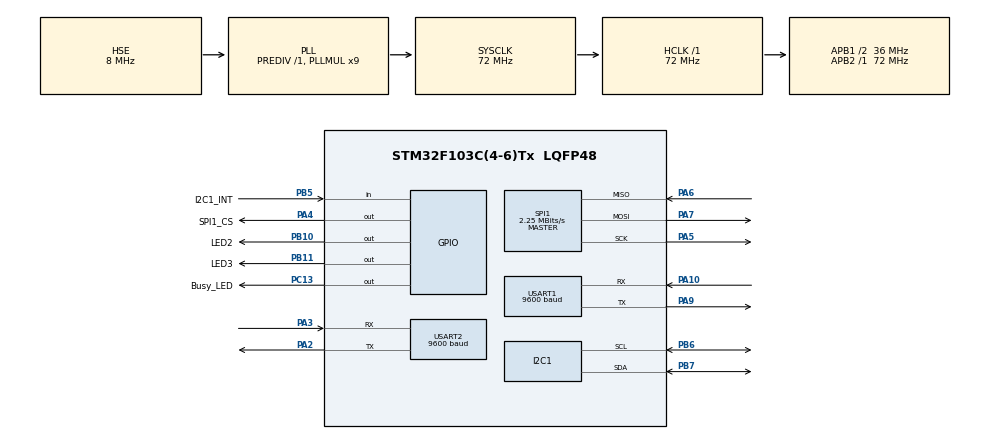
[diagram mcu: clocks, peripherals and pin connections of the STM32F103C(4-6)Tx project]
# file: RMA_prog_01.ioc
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Dma.Request0=USART2_RX
Dma.Request1=USART2_TX
Dma.Request2=USART1_RX
Dma.Request3=USART1_TX
Dma.USART1_RX.2.Direction=DMA_PERIPH_TO_MEMORY
Dma.USART1_RX.2.Instance=DMA1_Channel5
Dma.USART1_RX.2.MemDataAlignment=DMA_MDATAALIGN_BYTE
Dma.USART1_RX.2.MemInc=DMA_MINC_ENABLE
Dma.USART1_RX.2.Mode=DMA_NORMAL
Dma.USART1_RX.2.PeriphDataAlignment=DMA_PDATAALIGN_BYTE
Dma.USART1_RX.2.PeriphInc=DMA_PINC_DISABLE
Dma.USART1_RX.2.Priority=DMA_PRIORITY_VERY_HIGH
Dma.USART1_TX.3.Direction=DMA_MEMORY_TO_PERIPH
Dma.USART1_TX.3.Instance=DMA1_Channel4
Dma.USART1_TX.3.MemDataAlignment=DMA_MDATAALIGN_BYTE
Dma.USART1_TX.3.MemInc=DMA_MINC_ENABLE
Dma.USART1_TX.3.Mode=DMA_NORMAL
Dma.USART1_TX.3.PeriphDataAlignment=DMA_PDATAALIGN_BYTE
Dma.USART1_TX.3.PeriphInc=DMA_PINC_DISABLE
Dma.USART1_TX.3.Priority=DMA_PRIORITY_LOW
Dma.USART2_RX.0.Direction=DMA_PERIPH_TO_MEMORY
Dma.USART2_RX.0.Instance=DMA1_Channel6
Dma.USART2_RX.0.MemDataAlignment=DMA_MDATAALIGN_BYTE
Dma.USART2_RX.0.MemInc=DMA_MINC_ENABLE
Dma.USART2_RX.0.Mode=DMA_NORMAL
Dma.USART2_RX.0.PeriphDataAlignment=DMA_PDATAALIGN_BYTE
Dma.USART2_RX.0.PeriphInc=DMA_PINC_DISABLE
Dma.USART2_RX.0.Priority=DMA_PRIORITY_LOW
Dma.USART2_TX.1.Direction=DMA_MEMORY_TO_PERIPH
Dma.USART2_TX.1.Instance=DMA1_Channel7
Dma.USART2_TX.1.MemDataAlignment=DMA_MDATAALIGN_BYTE
Dma.USART2_TX.1.MemInc=DMA_MINC_ENABLE
Dma.USART2_TX.1.Mode=DMA_NORMAL
Dma.USART2_TX.1.PeriphDataAlignment=DMA_PDATAALIGN_BYTE
Dma.USART2_TX.1.PeriphInc=DMA_PINC_DISABLE
Dma.USART2_TX.1.Priority=DMA_PRIORITY_LOW
FATFS._MAX_SS=4096
FATFS._USE_LFN=1
Mcu.Family=STM32F1
Mcu.Name=STM32F103C(4-6)Tx
Mcu.Package=LQFP48
NVIC.DMA1_Channel4_IRQn=true\:0\:0\:false\:false\:true\:false\:true\:true
NVIC.DMA1_Channel5_IRQn=true\:0\:0\:false\:false\:true\:false\:true\:true
NVIC.DMA1_Channel6_IRQn=true\:0\:0\:false\:false\:true\:false\:true\:true
NVIC.DMA1_Channel7_IRQn=true\:0\:0\:false\:false\:true\:false\:true\:true
NVIC.PriorityGroup=NVIC_PRIORITYGROUP_4
NVIC.USART1_IRQn=true\:0\:0\:false\:false\:true\:true\:true\:true
NVIC.USART2_IRQn=true\:0\:0\:false\:false\:true\:true\:true\:true
PA10.Mode=Asynchronous
PA10.Signal=USART1_RX
PA13.Mode=Serial_Wire
PA13.Signal=SYS_JTMS-SWDIO
PA14.Mode=Serial_Wire
PA14.Signal=SYS_JTCK-SWCLK
PA2.Mode=Asynchronous
PA2.Signal=USART2_TX
PA3.Mode=Asynchronous
PA3.Signal=USART2_RX
PA4.GPIO_Label=SPI1_CS
PA4.Signal=GPIO_Output
PA5.Mode=Full_Duplex_Master
PA5.Signal=SPI1_SCK
PA6.Mode=Full_Duplex_Master
PA6.Signal=SPI1_MISO
PA7.Mode=Full_Duplex_Master
PA7.Signal=SPI1_MOSI
PA9.Mode=Asynchronous
PA9.Signal=USART1_TX
PB10.GPIO_Label=LED2
PB10.Signal=GPIO_Output
PB11.GPIO_Label=LED3
PB11.Signal=GPIO_Output
PB5.GPIO_Label=I2C1_INT
PB5.Signal=GPIO_Input
PB6.GPIO_Pu=GPIO_NOPULL
PB6.Mode=I2C
PB6.Signal=I2C1_SCL
PB7.GPIO_Pu=GPIO_NOPULL
PB7.Mode=I2C
PB7.Signal=I2C1_SDA
PC13-TAMPER-RTC.GPIO_Label=Busy_LED
PC13-TAMPER-RTC.Signal=GPIO_Output
PC14-OSC32_IN.Mode=LSE-External-Oscillator
PC14-OSC32_IN.Signal=RCC_OSC32_IN
PC15-OSC32_OUT.Mode=LSE-External-Oscillator
PC15-OSC32_OUT.Signal=RCC_OSC32_OUT
PD0-OSC_IN.Mode=HSE-External-Oscillator
PD0-OSC_IN.Signal=RCC_OSC_IN
PD1-OSC_OUT.Mode=HSE-External-Oscillator
PD1-OSC_OUT.Signal=RCC_OSC_OUT
ProjectManager.HeapSize=0x200
ProjectManager.StackSize=0x400
ProjectManager.TargetToolchain=MDK-ARM V5.27
RCC.AHBFreq_Value=72000000
RCC.APB1CLKDivider=RCC_HCLK_DIV2
RCC.APB1Freq_Value=36000000
RCC.APB1TimFreq_Value=72000000
RCC.APB2Freq_Value=72000000
RCC.APB2TimFreq_Value=72000000
RCC.HCLKFreq_Value=72000000
RCC.PLLMUL=RCC_PLL_MUL9
RCC.PLLSourceVirtual=RCC_PLLSOURCE_HSE
RCC.SYSCLKFreq_VALUE=72000000
RCC.SYSCLKSource=RCC_SYSCLKSOURCE_PLLCLK
RCC.USBFreq_Value=72000000
SPI1.BaudRatePrescaler=SPI_BAUDRATEPRESCALER_32
SPI1.CalculateBaudRate=2.25 MBits/s
SPI1.Direction=SPI_DIRECTION_2LINES
SPI1.Mode=SPI_MODE_MASTER
SPI1.VirtualType=VM_MASTER
USART1.BaudRate=9600
USART1.VirtualMode=VM_ASYNC
USART2.BaudRate=9600
USART2.VirtualMode=VM_ASYNC
VP_FATFS_VS_Generic.Mode=User_defined
board=custom

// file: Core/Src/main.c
/* USER CODE BEGIN Header */
/**
  ******************************************************************************
  * @file           : main.c
  * @brief          : Main program body
  ******************************************************************************
  * @attention
  *
  * Copyright (c) 2022 STMicroelectronics.
  * All rights reserved.
  *
  * This software is licensed under terms that can be found in the LICENSE file
  * in the root directory of this software component.
  * If no LICENSE file comes with this software, it is provided AS-IS.
  *
  ******************************************************************************
  */
/* USER CODE END Header */
#include "main.h"
#include "dma.h"
#include "fatfs.h"
#include "i2c.h"
#include "spi.h"
#include "usart.h"
#include "gpio.h"

/* USER CODE BEGIN PD */
FATFS fs;
FIL fil;
/* USER CODE END PD */

/* USER CODE BEGIN PV */
extern uint16_t 	SlaveAddress;
extern float 			x,y,z;

uint16_t i2c_slave_addr = 0x56;
uint8_t i2c_tx[5] = "Sello";

uint8_t UART2_rxBuffer[10];

/* USER CODE END PV */

void SystemClock_Config(void);

/* USER CODE BEGIN 0 */
//void HAL_UART_RxHalfCpltCallback(UART_HandleTypeDef *huart)
//{
//  HAL_GPIO_TogglePin (GPIOA, GPIO_PIN_0);  // toggle PA0
//}

//void HAL_UART_RxCpltCallback(UART_HandleTypeDef *huart)
//{
//  HAL_UART_Receive_DMA(&huart1, Rx_data, 4);
//}
uint8_t dataa[2000];

//UART_HandleTypeDef huart2;

void HAL_UART_TxCpltCallback(UART_HandleTypeDef *huart)
{
   HAL_UART_Transmit_IT(&huart1, dataa, sizeof (dataa));
}

/* USER CODE END 0 */

int main(void)
{

  /* MCU Configuration--------------------------------------------------------*/

  /* Reset of all peripherals, Initializes the Flash interface and the Systick. */
  HAL_Init();

  /* Configure the system clock */
  SystemClock_Config();

  /* Initialize all configured peripherals */
  MX_GPIO_Init();
  MX_DMA_Init();
  MX_I2C1_Init();
  MX_USART1_UART_Init();
  MX_USART2_UART_Init();
  MX_SPI1_Init();
  MX_FATFS_Init();
  /* USER CODE BEGIN 2 */

	  HAL_Delay(500);
  f_mount(&fs, "", 0);
  f_open(&fil, "write.txt", FA_OPEN_ALWAYS | FA_WRITE | FA_READ);
  f_lseek(&fil, fil.fsize);
  f_puts("Hello from Nizar\n", &fil);
  f_close(&fil);

	//I2C_ClearBusyFlagErratum();
	//hi2c1.State = HAL_I2C_STATE_READY;
  find_LSM_address();

	HAL_Delay(1000);

	LSM_init();
	for (int i=0; i<2000; i++)
 {
   dataa[i] = 'x';
 }
 //HAL_UART_Transmit_IT(&huart1, dataa, sizeof (dataa));
 HAL_UART_Receive_IT (&huart1, UART2_rxBuffer, 12);
//	 HAL_UART_Receive_DMA (&huart1, Rx_data, 4);  // Receive 4 Bytes of data
  /* USER CODE END 2 */

  /* Infinite loop */
  /* USER CODE BEGIN WHILE */
  while (1)
  {

		//HAL_I2C_IsDeviceReady(&hi2c1,SlaveAddress,3,100);
		//HAL_GPIO_TogglePin(,Test1_Pin);
		//HAL_I2C_Mem_Write_DMA(&hi2c1,i2c_slave_addr
		//HAL_I2C_Master_Transmit(&hi2c1,SlaveAddress,i2c_tx,1,100);
		//HAL_I2C_Master_Transmit_DMA(&hi2c1,i2c_slave_addr,i2c_tx,5);

//		HAL_UART_Receive (&huart1, Rx_data, 4, 100);  // receive 4 bytes of data

		HAL_Delay(100);
		//if (HAL_I2C_IsDeviceReady(&hi2c1,SlaveAddress,1,1000) == HAL_OK) HAL_GPIO_TogglePin(Busy_LED_GPIO_Port,Busy_LED_Pin);
		if(accelerationAvailable()){
			HAL_GPIO_TogglePin(Busy_LED_GPIO_Port,Busy_LED_Pin);
			readAcceleration();
		}
		//readAcceleration();
    /* USER CODE END WHILE */

  }
}

void SystemClock_Config(void)
{
  RCC_OscInitTypeDef RCC_OscInitStruct = {0};
  RCC_ClkInitTypeDef RCC_ClkInitStruct = {0};

  /** Initializes the RCC Oscillators according to the specified parameters
  * in the RCC_OscInitTypeDef structure.
  */
  RCC_OscInitStruct.OscillatorType = RCC_OSCILLATORTYPE_HSE;
  RCC_OscInitStruct.HSEState = RCC_HSE_ON;
  RCC_OscInitStruct.HSEPredivValue = RCC_HSE_PREDIV_DIV1;
  RCC_OscInitStruct.HSIState = RCC_HSI_ON;
  RCC_OscInitStruct.PLL.PLLState = RCC_PLL_ON;
  RCC_OscInitStruct.PLL.PLLSource = RCC_PLLSOURCE_HSE;
  RCC_OscInitStruct.PLL.PLLMUL = RCC_PLL_MUL9;
  if (HAL_RCC_OscConfig(&RCC_OscInitStruct) != HAL_OK)
  {
    Error_Handler();
  }

  /** Initializes the CPU, AHB and APB buses clocks
  */
  RCC_ClkInitStruct.ClockType = RCC_CLOCKTYPE_HCLK|RCC_CLOCKTYPE_SYSCLK
                              |RCC_CLOCKTYPE_PCLK1|RCC_CLOCKTYPE_PCLK2;
  RCC_ClkInitStruct.SYSCLKSource = RCC_SYSCLKSOURCE_PLLCLK;
  RCC_ClkInitStruct.AHBCLKDivider = RCC_SYSCLK_DIV1;
  RCC_ClkInitStruct.APB1CLKDivider = RCC_HCLK_DIV2;
  RCC_ClkInitStruct.APB2CLKDivider = RCC_HCLK_DIV1;

  if (HAL_RCC_ClockConfig(&RCC_ClkInitStruct, FLASH_LATENCY_2) != HAL_OK)
  {
    Error_Handler();
  }
}

void Error_Handler(void)
{
  __disable_irq();
  while (1)
  {
  }
}
